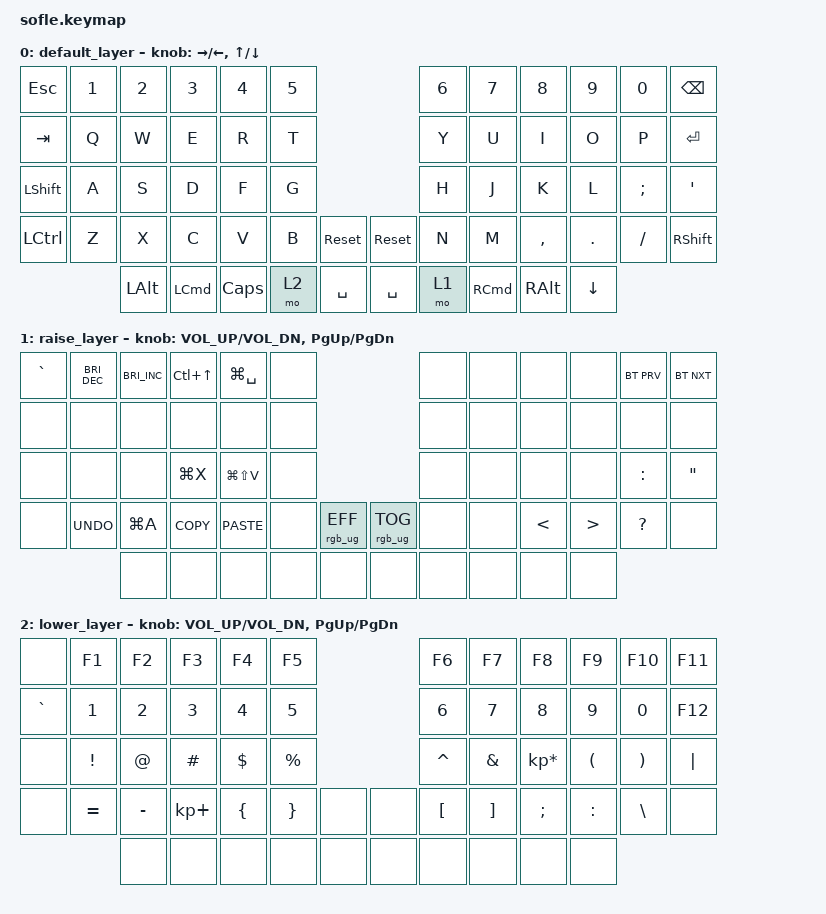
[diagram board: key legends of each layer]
/*
 * Copyright (c) 2020 The ZMK Contributors
 *
 * SPDX-License-Identifier: MIT
 */
/*
 * Temporarily here because nice nano v2 spi is not defined on ZMK Yet
 * Source: https://github.com/zmkfirmware/zmk/blob/main/app/boards/shields/reviung41/boards/nice_nano.overlay
 * GitHub Issue: https://github.com/zmkfirmware/zmk/issues/885
 */

#include <dt-bindings/led/led.h>
#include <behaviors.dtsi>
#include <dt-bindings/zmk/bt.h>
#include <dt-bindings/zmk/keys.h>
#include <dt-bindings/zmk/rgb.h>

&pinctrl {
    spi3_default: spi3_default {
        group1 { psels = <NRF_PSEL(SPIM_MOSI, 0, 8)>; };
    };

    spi3_sleep: spi3_sleep {
        group1 {
            psels = <NRF_PSEL(SPIM_MOSI, 0, 8)>;
            low-power-enable;
        };
    };
};

&spi3 {
    compatible = "nordic,nrf-spim";
    status = "okay";
    pinctrl-0 = <&spi3_default>;
    pinctrl-1 = <&spi3_sleep>;
    pinctrl-names = "default", "sleep";

    led_strip: ws2812@0 {
        compatible = "worldsemi,ws2812-spi";
        label = "WS2812";

        /* SPI */

        reg = <0>; /* ignored, but necessary for SPI bindings */
        spi-max-frequency = <4000000>;

        /* WS2812 */

        chain-length = <30>;
        spi-one-frame = <0x70>;
        spi-zero-frame = <0x40>;
        color-mapping = <LED_COLOR_ID_GREEN LED_COLOR_ID_RED LED_COLOR_ID_BLUE>;
    };
};

/ {
    chosen { zmk,underglow = &led_strip; };
};

/* END temporary RGB support section */

/ {
    keymap {
        compatible = "zmk,keymap";

        default_layer {
            // ------------------------------------------------------------------------------------------------------------------
            // |  `    |  1  |  2  |  3   |  4   |  5   |                         |  6   |  7    |  8    |  9   |   0   |       |
            // |  ESC  |  Q  |  W  |  E   |  R   |  T   |                         |  Y   |  U    |  I    |  O   |   P   | BKSPC |
            // |  TAB  |  A  |  S  |  D   |  F   |  G   |                         |  H   |  J    |  K    |  L   |   ;   |   '   |
            // | SHIFT |  Z  |  X  |  C   |  V   |  B   |  MUTE  |        | ExtPw |  N   |  M    |  ,    |  .   |   /   | SHIFT |
            //               | GUI | ALT  | CTRL | LOWER|  ENTER |        | SPACE | RAISE| CTRL  | ALT   | GUI  |

            bindings = <
&kp ESC           &kp N1  &kp N2        &kp N3            &kp N4        &kp N5                            &kp N6  &kp N7             &kp N8         &kp N9          &kp N0    &kp BACKSPACE
&kp TAB           &kp Q   &kp W         &kp E             &kp R         &kp T                             &kp Y   &kp U              &kp I          &kp O           &kp P     &kp RET
&kp LSHIFT        &kp A   &kp S         &kp D             &kp F         &kp G                             &kp H   &kp J              &kp K          &kp L           &kp SEMI  &kp SQT
&kp LEFT_CONTROL  &kp Z   &kp X         &kp C             &kp V         &kp B   &sys_reset    &sys_reset  &kp N   &kp M              &kp COMMA      &kp DOT         &kp FSLH  &kp RIGHT_SHIFT
                          &kp LEFT_ALT  &kp LEFT_COMMAND  &kp CAPSLOCK  &mo 2   &kp SPACE     &kp SPACE   &mo 1   &kp RIGHT_COMMAND  &kp RIGHT_ALT  &kp DOWN_ARROW
            >;

            sensor-bindings =
                <&inc_dec_kp RIGHT LEFT_ARROW>,
                <&inc_dec_kp UP_ARROW DOWN_ARROW>;
        };

        raise_layer {
            // ------------------------------------------------------------------------------------------------------------
            // |BTCLR| BT1  | BT2  |  BT3  |  BT4  |  BT5 |                 |      |      |       |      |       |       |
            // |     | INS  | PSCR | GUI   |       |      |                 | PGUP |      |   ^   |      |       |       |
            // |     | ALT  | CTRL | SHIFT |       | CAPS |                 | PGDN |   <- |   v   |  ->  |  DEL  | BKSPC |
            // |     | UNDO | CUT  | COPY  | PASTE |      |      |   | RGB  |      |      |       |      |       |       |
            //              |      |       |       |      |      |   |      |      |      |       |      |

            bindings = <
&kp GRAVE  &kp C_BRIGHTNESS_DEC  &kp C_BRIGHTNESS_INC  &kp LC(UP_ARROW)  &kp LG(SPACE)  &none                                      &none  &none  &none          &none             &bt BT_PRV    &bt BT_NXT
&none      &none                 &none                 &none             &none          &none                                      &none  &none  &none          &none             &none         &none
&none      &none                 &none                 &kp LG(X)         &kp LG(LS(V))  &none                                      &none  &none  &none          &none             &kp COLON     &kp DOUBLE_QUOTES
&none      &kp K_UNDO            &kp LG(A)             &kp K_COPY        &kp K_PASTE    &none  &rgb_ug RGB_EFF    &rgb_ug RGB_TOG  &none  &none  &kp LESS_THAN  &kp GREATER_THAN  &kp QUESTION  &none
                                 &none                 &none             &none          &none  &none              &none            &none  &none  &none          &none
            >;

            sensor-bindings = <&inc_dec_kp C_VOL_UP C_VOL_DN &inc_dec_kp PG_UP PG_DN>;
        };

        lower_layer {
            // TODO: Some binds are waiting for shifted keycode support.
            // ------------------------------------------------------------------------------------------------------------
            // |       |  F1 |  F2 |  F3  |  F4  |  F5  |                   |  F6  |  F7   |  F8   |  F9  |  F10  |  F11  |
            // | `     |   1 |   2 |   3  |   4  |   5  |                   |   6  |   7   |   8   |   9  |    0  |  F12  |
            // |       |  !  |  @  |  #   |  $   |  %   |                   |  ^   |  &    |  *    |  (   |   )   |   |   |
            // |       |  =  |  -  |  +   |  {   |  }   |        |  |       |  [   |  ]    |  ;    |  :   |   \   |       |
            //               |     |      |      |      |        |  |       |      |       |       |      |

            bindings = <
&none      &kp F1     &kp F2     &kp F3       &kp F4    &kp F5                     &kp F6     &kp F7    &kp F8           &kp F9     &kp F10   &kp F11
&kp GRAVE  &kp N1     &kp N2     &kp N3       &kp N4    &kp N5                     &kp N6     &kp N7    &kp N8           &kp N9     &kp N0    &kp F12
&none      &kp EXCL   &kp AT     &kp HASH     &kp DLLR  &kp PRCNT                  &kp CARET  &kp AMPS  &kp KP_MULTIPLY  &kp LPAR   &kp RPAR  &kp PIPE
&none      &kp EQUAL  &kp MINUS  &kp KP_PLUS  &kp LBRC  &kp RBRC   &none    &none  &kp LBKT   &kp RBKT  &kp SEMI         &kp COLON  &kp BSLH  &none
                      &none      &none        &none     &none      &none    &none  &none      &none     &none            &none
            >;

            sensor-bindings = <&inc_dec_kp C_VOL_UP C_VOL_DN &inc_dec_kp PG_UP PG_DN>;
        };
    };
};
